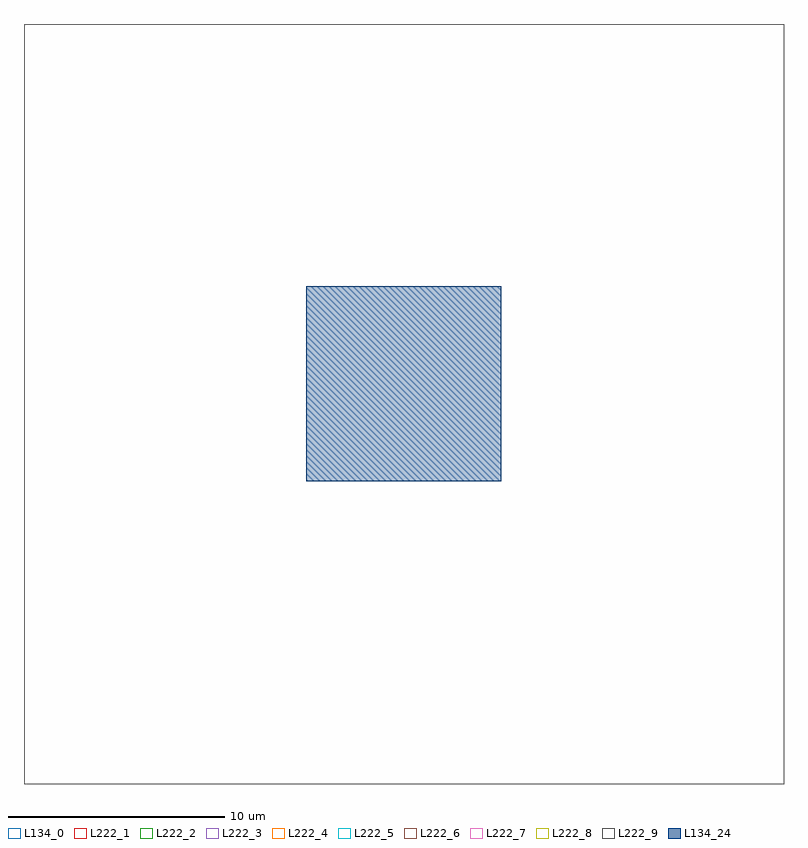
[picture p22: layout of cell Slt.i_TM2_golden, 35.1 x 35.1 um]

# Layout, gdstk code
import gdstk
lib = gdstk.Library(unit=1e-6, precision=1e-09)
def R(c, l, rs):  # rectangles x0, y0, x1, y1
    for r in rs: c.add(gdstk.rectangle(r[:2], r[2:], *l))
L134_0 = (134, 0)
L134_24 = (134, 24)
L222_1 = (222, 1)
L222_2 = (222, 2)
L222_3 = (222, 3)
L222_4 = (222, 4)
L222_5 = (222, 5)
L222_6 = (222, 6)
L222_7 = (222, 7)
L222_8 = (222, 8)
L222_9 = (222, 9)

slt_i_tm2_golden = lib.new_cell('Slt.i_TM2_golden')
R(slt_i_tm2_golden, L134_0, [(0,0,35.1,35.1)])
R(slt_i_tm2_golden, L134_24, [(13.04,13.98,22.04,22.98)])
R(slt_i_tm2_golden, L222_1, [(0,0,35.1,35.1)])
R(slt_i_tm2_golden, L222_2, [(0,0,35.1,35.1)])
R(slt_i_tm2_golden, L222_3, [(0,0,35.1,35.1)])
R(slt_i_tm2_golden, L222_4, [(0,0,35.1,35.1)])
R(slt_i_tm2_golden, L222_5, [(0,0,35.1,35.1)])
R(slt_i_tm2_golden, L222_6, [(0,0,35.1,35.1)])
R(slt_i_tm2_golden, L222_7, [(0,0,35.1,35.1)])
R(slt_i_tm2_golden, L222_8, [(0,0,35.1,35.1)])
R(slt_i_tm2_golden, L222_9, [(0,0,35.1,35.1)])

lib.write_gds('Slt.i_TM2_golden.gds')
